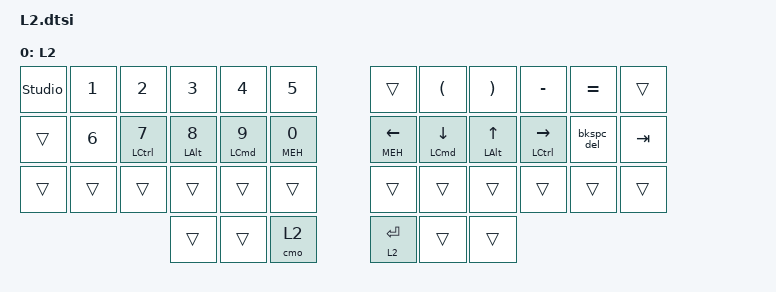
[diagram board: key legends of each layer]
/**
 * Numeric, Navigation and symbols Layer
 */

/ {
  keymap {
    compatible = "zmk,keymap";

    layer_2 {
      display-name = "L2";
      bindings = <
// ╭───────────────┬───────────────┬───────────────┬───────────────┬───────────────┬───────────────╮   ╭───────────────┬───────────────┬───────────────┬───────────────┬───────────────┬───────────────╮
// │0              │1              │2              │3              │4              │5              │   │6              │7              │8              │9              │10             │11             │
    &studio_unlock  &kp N1          &kp N2          &kp N3          &kp N4          &kp N5              &trans          &kp LPAR        &kp RPAR        &kp MINUS       &kp EQUAL       &trans
// ├───────────────├───────────────┼───────────────┼───────────────┼───────────────┼───────────────┤   ├───────────────├───────────────┼───────────────┼───────────────┼───────────────┼───────────────┤
// │12             │13             │14             │15             │16             │17             │   │18             │19             │20             │21             │22             │23             │
    &trans          &kp N6          &hrml LCTRL N7  &hrml LALT N8   &hrml LCMD N9   &hrml MEH N0        &hrmr MEH LEFT  &hrmr LCMD DOWN &hrmr LALT UP   &hrmr LCTRL RIGHT &bkspc_del    &kp TAB
// ├───────────────├───────────────┼───────────────┼───────────────┼───────────────┼───────────────┤   ├───────────────├───────────────┼───────────────┼───────────────┼───────────────┼───────────────┤
// │24             │25             │26             │27             │28             │29             │   │30             │31             │32             │33             │34             │35             │
    &trans          &trans          &trans          &trans          &trans          &trans              &trans          &trans          &trans          &trans          &trans          &trans
// ╰───────────────┴───────────────┴───────────────┼───────────────┼───────────────┼───────────────┤   ├───────────────├───────────────┼───────────────┼───────────────┴───────────────┴───────────────╯
//                                                 │36             │37             │38             │   │39             │40             │41             │
                                                    &trans          &trans          &cmo L2             &lt L2 ENTER    &trans          &trans
//                                                 ╰───────────────┴───────────────┴───────────────╯   ╰───────────────┴───────────────┴───────────────╯
      >;
    };
  };
};
